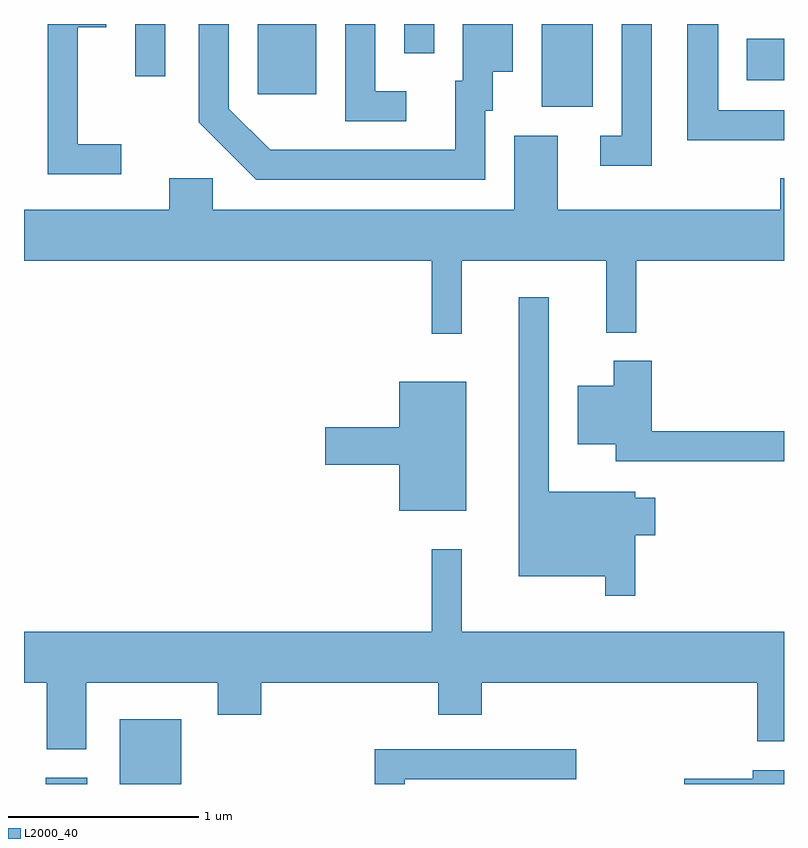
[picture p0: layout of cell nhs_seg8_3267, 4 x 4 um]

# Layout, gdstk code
import gdstk
lib = gdstk.Library(unit=1e-6, precision=1e-09)
def R(c, l, rs):  # rectangles x0, y0, x1, y1
    for r in rs: c.add(gdstk.rectangle(r[:2], r[2:], *l))
def P(c, l, *ps):  # polygons
    for p in ps: c.add(gdstk.Polygon(p, *l))
L2000_40 = (2000, 40)

nhs_seg8_3267 = lib.new_cell('nhs_seg8_3267')
R(nhs_seg8_3267, L2000_40, [(283.726,1820.342,283.944,1820.374), (284.116,1820.342,284.439,1820.684), (286.336,1823.906,286.604,1824.342), (284.841,1823.971,285.149,1824.342), (287.416,1824.046,287.611,1824.264), (284.196,1824.068,284.354,1824.342), (285.611,1824.188,285.769,1824.342)])
P(nhs_seg8_3267, L2000_40, [(287.611,1823.889),(287.264,1823.889),(287.264,1824.342),(287.101,1824.342),(287.101,1823.731),(287.611,1823.731)],
  [(286.914,1824.342),(286.756,1824.342),(286.756,1823.754),(286.643,1823.754),(286.643,1823.596),(286.914,1823.596)],
  [(284.123,1823.709),(283.894,1823.709),(283.894,1824.326),(284.044,1824.326),(284.044,1824.342),(283.736,1824.342),(283.736,1823.551),(284.123,1823.551)],
  [(286.039,1823.886),(286.079,1823.886),(286.079,1824.091),(286.184,1824.091),(286.184,1824.342),(285.921,1824.342),(285.921,1824.044),(285.881,1824.044),(285.881,1823.679),(284.907,1823.679),(284.689,1823.897),(284.689,1824.342),(284.531,1824.342),(284.531,1823.824),(284.834,1823.521),(286.039,1823.521)],
  [(285.623,1823.989),(285.459,1823.989),(285.459,1824.342),(285.301,1824.342),(285.301,1823.831),(285.623,1823.831)],
  [(285.914,1823.096),(286.676,1823.096),(286.676,1822.718),(286.834,1822.718),(286.834,1823.096),(287.611,1823.096),(287.611,1823.529),(287.591,1823.529),(287.591,1823.364),(286.419,1823.364),(286.419,1823.754),(286.191,1823.754),(286.191,1823.364),(284.604,1823.364),(284.604,1823.529),(284.376,1823.529),(284.376,1823.364),(283.611,1823.364),(283.611,1823.096),(285.756,1823.096),(285.756,1822.713),(285.914,1822.713)],
  [(286.829,1821.651),(286.934,1821.651),(286.934,1821.849),(286.829,1821.849),(286.829,1821.879),(286.374,1821.879),(286.374,1822.903),(286.216,1822.903),(286.216,1821.436),(286.671,1821.436),(286.671,1821.333),(286.829,1821.333)],
  [(287.611,1822.199),(286.914,1822.199),(286.914,1822.569),(286.716,1822.569),(286.716,1822.439),(286.526,1822.439),(286.526,1822.131),(286.726,1822.131),(286.726,1822.041),(287.611,1822.041)],
  [(285.939,1822.459),(285.586,1822.459),(285.586,1822.219),(285.196,1822.219),(285.196,1822.021),(285.586,1822.021),(285.586,1821.781),(285.939,1821.781)],
  [(283.939,1820.876),(284.631,1820.876),(284.631,1820.706),(284.859,1820.706),(284.859,1820.876),(285.791,1820.876),(285.791,1820.706),(286.019,1820.706),(286.019,1820.876),(287.471,1820.876),(287.471,1820.566),(287.611,1820.566),(287.611,1821.144),(285.914,1821.144),(285.914,1821.578),(285.756,1821.578),(285.756,1821.144),(283.611,1821.144),(283.611,1820.876),(283.731,1820.876),(283.731,1820.526),(283.939,1820.526)],
  [(285.614,1820.366),(286.518,1820.366),(286.518,1820.524),(285.456,1820.524),(285.456,1820.342),(285.614,1820.342)],
  [(287.611,1820.414),(287.446,1820.414),(287.446,1820.369),(287.086,1820.369),(287.086,1820.342),(287.611,1820.342)])

lib.write_gds('nhs_seg8_3267.gds')
